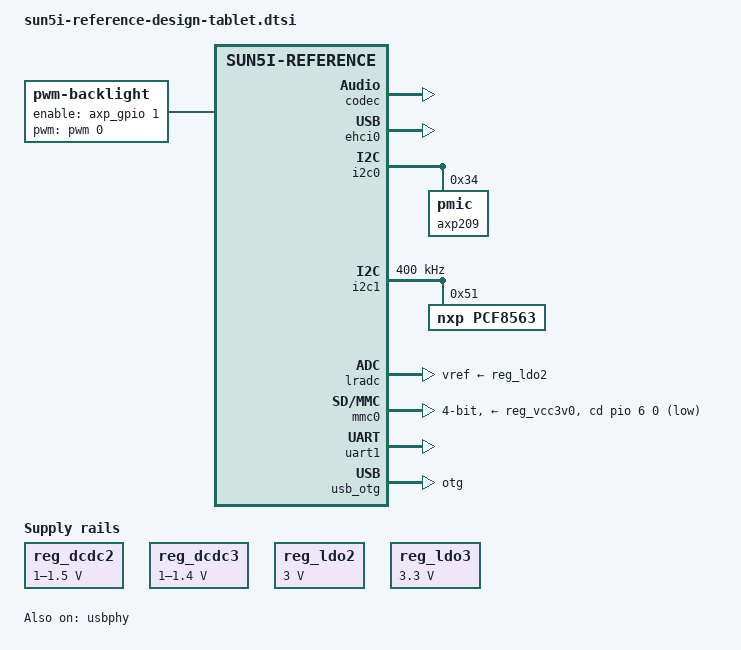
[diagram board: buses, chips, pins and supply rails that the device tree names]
/*
 * Copyright 2015 Hans de Goede <hdegoede@redhat.com>
 *
 * This file is dual-licensed: you can use it either under the terms
 * of the GPL or the X11 license, at your option. Note that this dual
 * licensing only applies to this file, and not this project as a
 * whole.
 *
 *  a) This file is free software; you can redistribute it and/or
 *     modify it under the terms of the GNU General Public License as
 *     published by the Free Software Foundation; either version 2 of the
 *     License, or (at your option) any later version.
 *
 *     This file is distributed in the hope that it will be useful,
 *     but WITHOUT ANY WARRANTY; without even the implied warranty of
 *     MERCHANTABILITY or FITNESS FOR A PARTICULAR PURPOSE.  See the
 *     GNU General Public License for more details.
 *
 * Or, alternatively,
 *
 *  b) Permission is hereby granted, free of charge, to any person
 *     obtaining a copy of this software and associated documentation
 *     files (the "Software"), to deal in the Software without
 *     restriction, including without limitation the rights to use,
 *     copy, modify, merge, publish, distribute, sublicense, and/or
 *     sell copies of the Software, and to permit persons to whom the
 *     Software is furnished to do so, subject to the following
 *     conditions:
 *
 *     The above copyright notice and this permission notice shall be
 *     included in all copies or substantial portions of the Software.
 *
 *     THE SOFTWARE IS PROVIDED "AS IS", WITHOUT WARRANTY OF ANY KIND,
 *     EXPRESS OR IMPLIED, INCLUDING BUT NOT LIMITED TO THE WARRANTIES
 *     OF MERCHANTABILITY, FITNESS FOR A PARTICULAR PURPOSE AND
 *     NONINFRINGEMENT. IN NO EVENT SHALL THE AUTHORS OR COPYRIGHT
 *     HOLDERS BE LIABLE FOR ANY CLAIM, DAMAGES OR OTHER LIABILITY,
 *     WHETHER IN AN ACTION OF CONTRACT, TORT OR OTHERWISE, ARISING
 *     FROM, OUT OF OR IN CONNECTION WITH THE SOFTWARE OR THE USE OR
 *     OTHER DEALINGS IN THE SOFTWARE.
 */
#include "sunxi-reference-design-tablet.dtsi"

#include <dt-bindings/interrupt-controller/irq.h>
#include <dt-bindings/pwm/pwm.h>

/ {
	aliases {
		serial0 = &uart1;
	};

	backlight: backlight {
		compatible = "pwm-backlight";
		pwms = <&pwm 0 50000 PWM_POLARITY_INVERTED>;
		brightness-levels = <0 10 20 30 40 50 60 70 80 90 100>;
		default-brightness-level = <8>;
		enable-gpios = <&axp_gpio 1 GPIO_ACTIVE_HIGH>; /* AXP GPIO1 */
	};

	chosen {
		stdout-path = "serial0:115200n8";
	};
};

&codec {
	allwinner,pa-gpios = <&pio 6 10 GPIO_ACTIVE_HIGH>; /* PG10 */
	status = "okay";
};

&cpu0 {
	cpu-supply = <&reg_dcdc2>;
};

&ehci0 {
	status = "okay";
};

&i2c0 {
	axp209: pmic@34 {
		reg = <0x34>;
		interrupts = <0>;
	};
};

&i2c1 {
	/*
	 * The gsl1680 is rated at 400KHz and it will not work reliable at
	 * 100KHz, this has been confirmed on multiple different q8 tablets.
	 * All other devices on this bus are also rated for 400KHz.
	 */
	clock-frequency = <400000>;

	touchscreen: touchscreen@40 {
		reg = <0x40>;
		interrupt-parent = <&pio>;
		interrupts = <6 11 IRQ_TYPE_EDGE_FALLING>; /* EINT11 (PG11) */
		power-gpios = <&pio 1 3 GPIO_ACTIVE_HIGH>; /* PB3 */
		/* Tablet dts must provide reg and compatible */
		status = "disabled";
	};

	pcf8563: rtc@51 {
		compatible = "nxp,pcf8563";
		reg = <0x51>;
	};
};

#include "axp209.dtsi"

&ac_power_supply {
	status = "okay";
};

&battery_power_supply {
	status = "okay";
};

&lradc {
	vref-supply = <&reg_ldo2>;
};

&mmc0 {
	pinctrl-names = "default";
	pinctrl-0 = <&mmc0_pins>;
	vmmc-supply = <&reg_vcc3v0>;
	bus-width = <4>;
	cd-gpios = <&pio 6 0 GPIO_ACTIVE_LOW>; /* PG0 */
	status = "okay";
};

&otg_sram {
	status = "okay";
};

&reg_dcdc2 {
	regulator-always-on;
	regulator-min-microvolt = <1000000>;
	regulator-max-microvolt = <1500000>;
	regulator-name = "vdd-cpu";
};

&reg_dcdc3 {
	regulator-always-on;
	regulator-min-microvolt = <1000000>;
	regulator-max-microvolt = <1400000>;
	regulator-name = "vdd-int-pll";
};

&reg_ldo1 {
	regulator-name = "vdd-rtc";
};

&reg_ldo2 {
	regulator-always-on;
	regulator-min-microvolt = <3000000>;
	regulator-max-microvolt = <3000000>;
	regulator-name = "avcc";
};

&reg_ldo3 {
	regulator-min-microvolt = <3300000>;
	regulator-max-microvolt = <3300000>;
	regulator-name = "vcc-wifi";
};

&reg_usb0_vbus {
	gpio = <&pio 6 12 GPIO_ACTIVE_HIGH>; /* PG12 */
	status = "okay";
};

&uart1 {
	pinctrl-names = "default";
	pinctrl-0 = <&uart1_pg_pins>;
	status = "okay";
};

&usb_otg {
	dr_mode = "otg";
	status = "okay";
};

&usb_power_supply {
	status = "okay";
};

&usbphy {
	usb0_id_det-gpios = <&pio 6 2 (GPIO_ACTIVE_HIGH | GPIO_PULL_UP)>; /* PG2 */
	usb0_vbus_det-gpios = <&pio 6 1 (GPIO_ACTIVE_HIGH | GPIO_PULL_DOWN)>; /* PG1 */
	usb0_vbus_power-supply = <&usb_power_supply>;
	usb0_vbus-supply = <&reg_usb0_vbus>;
	usb1_vbus-supply = <&reg_ldo3>;
	status = "okay";
};
